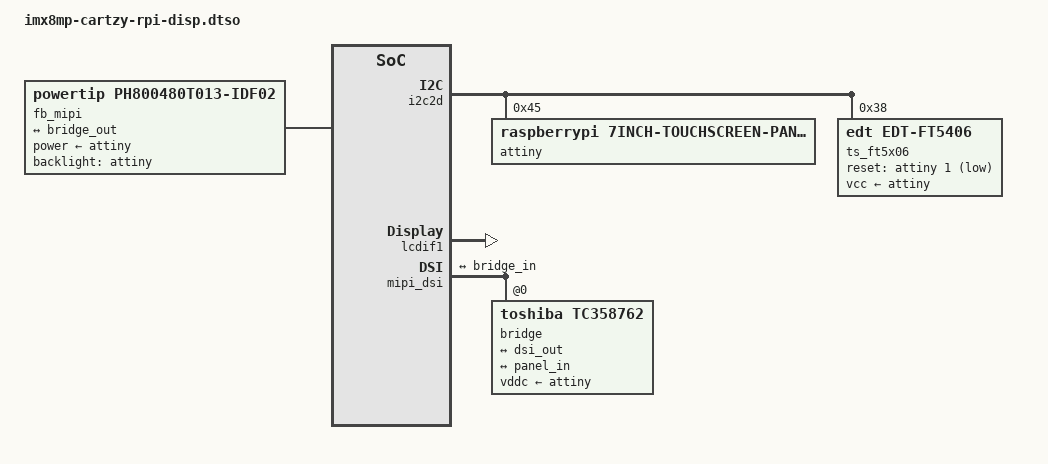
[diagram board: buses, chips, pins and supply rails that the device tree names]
// SPDX-License-Identifier: (GPL-2.0+ OR MIT)
/*
 * Copyright 2023 Gateworks Corporation
 * Update 2024 Vishvam Corporation
 */

/dts-v1/;
/plugin/;

&{/} {
	compatible = "fsl,imx8mp-custom-board", "boundary,imx8mp-nitrogen8mp", "fsl,imx8mp";

    fb_mipi: panel {
    	compatible = "powertip,ph800480t013-idf02";
        power-supply = <&attiny>;
        backlight = <&attiny>;
        rotation = <180>; /* Rotate 180 degrees */

        status = "okay";

        port {
            panel_in: endpoint {
                remote-endpoint = <&bridge_out>;
            };
        };
    };
};

&i2c2d {
	#address-cells = <1>;
	#size-cells = <0>;
    status = "okay";

	attiny: regulator@45 {
		compatible = "raspberrypi,7inch-touchscreen-panel-regulator";
		reg = <0x45>;
        status = "okay";
        gpio-controller;
        #gpio-cells = <2>;
	};

	ts_ft5x06: touchscreen@38 {
		compatible = "edt,edt-ft5406";
		reg = <0x38>;
		status = "okay";

		touchscreen-size-x = <800>;
		touchscreen-size-y = <480>;

		vcc-supply = <&attiny>;
		reset-gpio = <&attiny 1 1>;

		/* The following properties are optional */
		// touchscreen-inverted-x;
		// touchscreen-inverted-y;
		// touchscreen-swapped-x-y;

		/* raspberrypi,7inch-touchscreen-panel doesn't have a wakeup line
		 * so we do not have interrupt-gpios to read the data.
		 * This panel will run in polling mode.
		 */
	};
};

&lcdif1 {
	status = "okay";
};

&mipi_dsi {
	samsung,burst-clock-frequency = <891000000>;
	samsung,esc-clock-frequency = <54000000>;
	samsung,pll-clock-frequency = <27000000>;
	#address-cells = <1>;
	#size-cells = <0>;
	status = "okay";

	bridge@0 {
		compatible = "toshiba,tc358762";
		reg = <0>;
		vddc-supply = <&attiny>;
        status = "okay";

		ports {
			#address-cells = <1>;
			#size-cells = <0>;

			port@0 {
				reg = <0>;

				bridge_in: endpoint {
					remote-endpoint = <&dsi_out>;
				};
			};

			port@1 {
				reg = <1>;

				bridge_out: endpoint {
					remote-endpoint = <&panel_in>;
				};
			};
		};
	};

	port@1 {
		dsi_out: endpoint {
			data-lanes = <1 2>;
			remote-endpoint = <&bridge_in>;
			attach-bridge;
		};
	};
};
